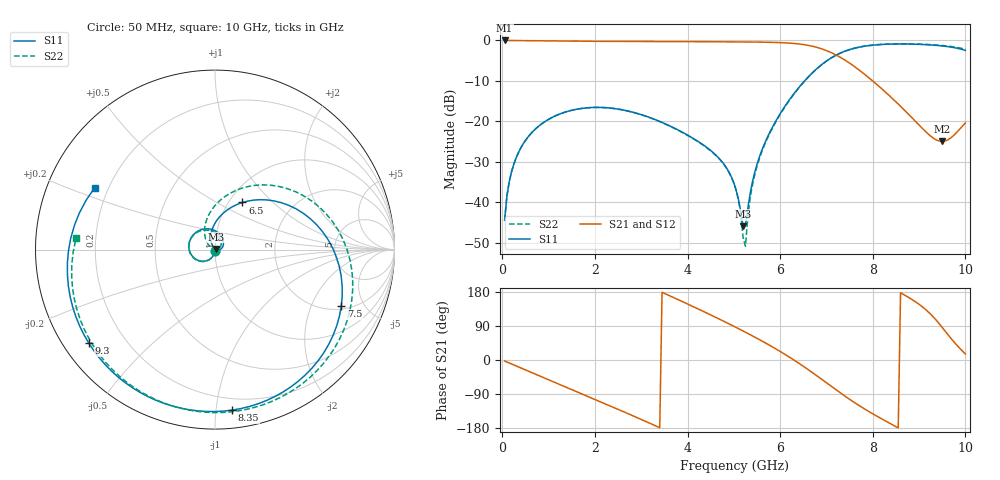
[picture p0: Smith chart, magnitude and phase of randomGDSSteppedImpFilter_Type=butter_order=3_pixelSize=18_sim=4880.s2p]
! freq	dB(S11)	phase(S11)	dB(S12)	phase(S12)
!  dB(S21)	phase(S21)	dB(S22)	phase(S22)
!S-par simulation data
#  GHz  S  DB  R 50
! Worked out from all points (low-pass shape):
!   200 points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, 50 MHz to 10 GHz, reference 50 ohm
!   highest |S21| = -0.01 dB at 50 MHz (marker M1); lowest = -24.9 dB at 9.5 GHz (marker M2)
!   |S21| within 3 dB of the highest: start of sweep to 7.102 GHz
!   lowest |S11| = -45.9 dB at 5.2 GHz (marker M3), VSWR 1.01, Z = 50.4 + j0.287 ohm
!   |S11| at or under -10 dB: start of sweep to 6.527 GHz
!   |S22| runs from -50.8 to -0.8 dB; largest |S21 - S12| = 0
!   S11 on the Smith chart (normalised r, x): 50 MHz: 1.00, -0.01; 6.5 GHz: 1.15, +0.67; 7.5 GHz: 2.18, -3.37; 8.35 GHz: 0.12, -1.10; 9.3 GHz: 0.07, -0.33; 10 GHz: 0.15, +0.24
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0.05  -44.44 -92.0  -0.01 -2.7  -0.01 -2.7  -44.44 -92.0
0.2  -32.44 -100.6  -0.03 -10.5  -0.03 -10.5  -32.44 -100.4
0.5  -24.71 -116.9  -0.05 -26.1  -0.05 -26.1  -24.72 -116.2
1.75  -16.75 176.5  -0.20 -90.9  -0.20 -90.9  -16.75 179.5
2.5  -16.96 135.7  -0.24 -130.2  -0.24 -130.2  -16.98 141.2
3.4  -20.02 84.3  -0.27 -178.7  -0.27 -178.7  -20.06 95.4
4.15  -24.39 38.7  -0.30 139.3  -0.30 139.3  -24.48 57.0
4.75  -30.05 4.0  -0.34 104.2  -0.34 104.2  -30.13 25.6
5.05  -36.99 -4.1  -0.36 85.9  -0.36 85.9  -37.07 13.0
5.2  -45.89 34.1  -0.37 76.6  -0.37 76.6  -48.73 35.5
5.25  -45.76 79.9  -0.38 73.4  -0.38 73.4  -50.84 108.7
5.4  -35.03 120.9  -0.39 63.8  -0.39 63.8  -35.82 153.2
5.6  -27.29 117.5  -0.42 50.6  -0.42 50.6  -27.64 144.9
6.1  -16.32 88.8  -0.59 15.2  -0.59 15.2  -16.47 111.1
6.5  -10.35 59.8  -1.02 -16.5  -1.02 -16.5  -10.42 79.3
6.7  -7.95 43.7  -1.44 -33.5  -1.44 -33.5  -8.00 62.1
7.1  -4.34 9.6  -3.00 -69.1  -3.00 -69.1  -4.36 26.3
7.5  -2.26 -24.0  -5.62 -103.8  -5.62 -103.8  -2.26 -8.5
8.35  -0.92 -84.0  -13.56 -165.9  -13.56 -165.9  -0.89 -69.5
9.3  -1.16 -143.4  -24.08 114.6  -24.08 114.6  -1.07 -127.2
9.5  -1.36 -158.1  -24.95 85.7  -24.95 85.7  -1.25 -140.8
10  -2.46 152.7  -20.37 15.8  -20.37 15.8  -2.20 175.3
